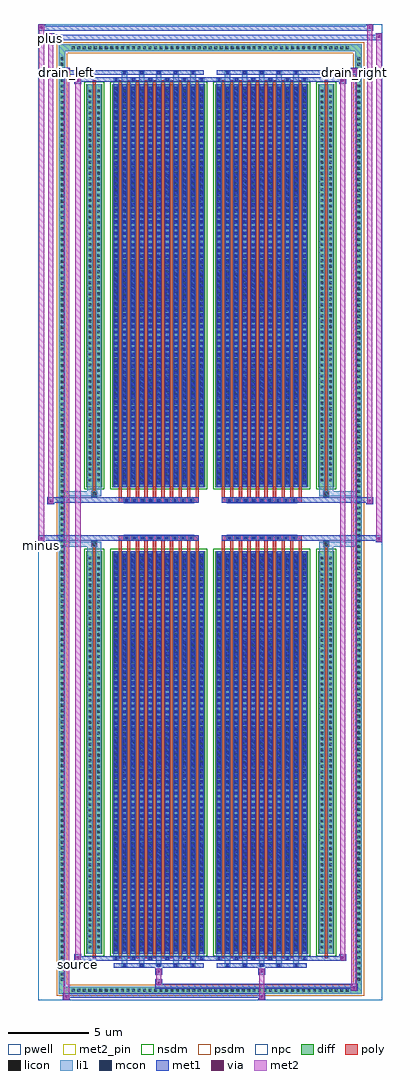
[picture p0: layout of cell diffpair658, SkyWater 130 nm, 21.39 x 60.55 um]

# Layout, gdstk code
import gdstk
lib = gdstk.Library(unit=1e-6, precision=5e-09)
def R(c, l, rs):  # rectangles x0, y0, x1, y1
    for r in rs: c.add(gdstk.rectangle(r[:2], r[2:], *l))
def A(c, l, x, y, w, h, nx, ny, dx, dy):  # array of equal rectangles
    R(c, l, [(x+i*dx, y+j*dy, x+i*dx+w, y+j*dy+h) for i in range(nx) for j in range(ny)])
def P(c, l, *ps):  # polygons
    for p in ps: c.add(gdstk.Polygon(p, *l))
pwell = (64, 44)
diff = (65, 20)
poly = (66, 20)
licon = (66, 44)
li1 = (67, 20)
mcon = (67, 44)
met1 = (68, 20)
via = (68, 44)
met2_pin = (69, 16)
met2 = (69, 20)
nsdm = (93, 44)
psdm = (94, 20)
npc = (95, 20)

diffpair658 = lib.new_cell('diffpair658')
R(diffpair658, pwell, [(-10.68,-29.84,10.68,30.71), (-8,-28.03,-0.01,-0.805), (0.01,-28.03,8,-0.805), (-8,0.805,-0.01,28.03), (0.01,0.805,8,28.03)])
A(diffpair658, diff, -8.705, -29.44, 0.41, 0.41, 51, 2, 0.34, 58.47)
A(diffpair658, diff, -9.41, -28.765, 0.41, 0.41, 1, 169, 0, 0.34)
A(diffpair658, diff, 9, -28.765, 0.41, 0.41, 1, 169, 0, 0.34)
R(diffpair658, diff, [(-8.705,-29.44,8.705,-29.03), (-9.41,-28.765,-9,28.765), (9,-28.765,9.41,28.765), (-7.69,-26.985,-6.71,-1.985), (-6.07,-26.985,-0.32,-1.985), (0.32,-26.985,6.07,-1.985), (6.71,-26.985,7.69,-1.985), (-7.69,1.985,-6.71,26.985), (-6.07,1.985,-0.32,26.985), (0.32,1.985,6.07,26.985), (6.71,1.985,7.69,26.985), (-8.705,29.03,8.705,29.44)])
P(diffpair658, diff, [(9.41,29.44),(-9.41,29.44),(-9.41,-29.03),(-9,-29.03),(-9,29.03),(9,29.03),(9,-29.03),(-9,-29.03),(-9.41,-29.03),(-9.41,-29.44),(9.41,-29.44)])
A(diffpair658, poly, -5.68, -27.235, 0.2, 25.5, 10, 2, 0.53, 28.97)
A(diffpair658, poly, 0.71, -27.235, 0.2, 25.5, 10, 2, 0.53, 28.97)
A(diffpair658, poly, -5.68, -1.735, 0.2, 0.4, 10, 2, 0.53, 3.07)
A(diffpair658, poly, 0.71, -1.735, 0.2, 0.4, 10, 2, 0.53, 3.07)
A(diffpair658, poly, -5.36, -1.335, 0.33, 0.33, 9, 2, 0.5, 2.34)
A(diffpair658, poly, 1.03, -1.335, 0.33, 0.33, 9, 2, 0.5, 2.34)
R(diffpair658, poly, [(-7.3,-27.235,-7.1,-1.735), (7.1,-27.235,7.3,-1.735), (-7.365,-1.735,-7.035,-1.405), (-7.365,-1.735,-7.035,-1.405), (7.035,-1.735,7.365,-1.405), (7.035,-1.735,7.365,-1.405), (-5.68,-1.335,-0.71,-1.005), (0.71,-1.335,5.68,-1.005), (-5.68,1.005,-0.71,1.335), (0.71,1.005,5.68,1.335), (-7.365,1.405,-7.035,1.735), (-7.365,1.405,-7.035,1.735), (7.035,1.405,7.365,1.735), (7.035,1.405,7.365,1.735), (-7.3,1.735,-7.1,27.235), (7.1,1.735,7.3,27.235)])
A(diffpair658, licon, -8.585, -29.32, 0.17, 0.17, 51, 2, 0.34, 58.47)
A(diffpair658, licon, -9.29, -28.645, 0.17, 0.17, 1, 169, 0, 0.34)
A(diffpair658, licon, 9.12, -28.645, 0.17, 0.17, 1, 169, 0, 0.34)
A(diffpair658, licon, -7.55, -26.64, 0.17, 0.17, 1, 72, 0, 0.34)
A(diffpair658, licon, -7.02, -26.64, 0.17, 0.17, 1, 72, 0, 0.34)
A(diffpair658, licon, -5.93, -26.64, 0.17, 0.17, 11, 72, 0.53, 0.34)
A(diffpair658, licon, 0.46, -26.64, 0.17, 0.17, 11, 72, 0.53, 0.34)
A(diffpair658, licon, 6.85, -26.64, 0.17, 0.17, 1, 72, 0, 0.34)
A(diffpair658, licon, 7.38, -26.64, 0.17, 0.17, 1, 72, 0, 0.34)
A(diffpair658, licon, -5.28, -1.255, 0.17, 0.17, 9, 2, 0.5, 2.34)
A(diffpair658, licon, 1.11, -1.255, 0.17, 0.17, 9, 2, 0.5, 2.34)
A(diffpair658, licon, -7.55, 2.33, 0.17, 0.17, 1, 72, 0, 0.34)
A(diffpair658, licon, -7.02, 2.33, 0.17, 0.17, 1, 72, 0, 0.34)
A(diffpair658, licon, -5.93, 2.33, 0.17, 0.17, 11, 72, 0.53, 0.34)
A(diffpair658, licon, 0.46, 2.33, 0.17, 0.17, 11, 72, 0.53, 0.34)
A(diffpair658, licon, 6.85, 2.33, 0.17, 0.17, 1, 72, 0, 0.34)
A(diffpair658, licon, 7.38, 2.33, 0.17, 0.17, 1, 72, 0, 0.34)
R(diffpair658, licon, [(-7.285,-1.655,-7.115,-1.485), (7.115,-1.655,7.285,-1.485), (-7.285,1.485,-7.115,1.655), (7.115,1.485,7.285,1.655)])
A(diffpair658, li1, -8.665, -29.4, 0.33, 0.33, 51, 2, 0.34, 58.47)
A(diffpair658, li1, -9.37, -28.725, 0.33, 0.33, 1, 169, 0, 0.34)
A(diffpair658, li1, 9.04, -28.725, 0.33, 0.33, 1, 169, 0, 0.34)
A(diffpair658, li1, -5.48, -27.79, 0.33, 0.805, 5, 2, 1.06, 54.775)
A(diffpair658, li1, -5.4, -27.79, 0.17, 0.17, 5, 2, 1.06, 55.41)
A(diffpair658, li1, 0.91, -27.79, 0.33, 0.805, 5, 2, 1.06, 54.775)
A(diffpair658, li1, 0.99, -27.79, 0.17, 0.17, 5, 2, 1.06, 55.41)
A(diffpair658, li1, -6.01, -27.36, 0.33, 0.375, 6, 2, 1.06, 54.345)
A(diffpair658, li1, -5.93, -27.36, 0.17, 0.17, 6, 2, 1.06, 54.55)
A(diffpair658, li1, 0.38, -27.36, 0.33, 0.375, 6, 2, 1.06, 54.345)
A(diffpair658, li1, 0.46, -27.36, 0.17, 0.17, 6, 2, 1.06, 54.55)
A(diffpair658, li1, -6.01, -26.985, 0.33, 25, 11, 2, 0.53, 28.97)
A(diffpair658, li1, 0.38, -26.985, 0.33, 25, 11, 2, 0.53, 28.97)
A(diffpair658, li1, -5.93, -26.81, 0.17, 0.17, 11, 69, 0.53, 0.36)
A(diffpair658, li1, -5.93, -26.81, 0.17, 24.65, 11, 2, 0.53, 28.97)
A(diffpair658, li1, 0.46, -26.81, 0.17, 0.17, 11, 69, 0.53, 0.36)
A(diffpair658, li1, 0.46, -26.81, 0.17, 24.65, 11, 2, 0.53, 28.97)
A(diffpair658, li1, -7.63, -26.72, 0.33, 0.33, 1, 72, 0, 0.34)
A(diffpair658, li1, -7.1, -26.72, 0.33, 0.33, 1, 72, 0, 0.34)
A(diffpair658, li1, -6.01, -26.72, 0.33, 0.33, 11, 72, 0.53, 0.34)
A(diffpair658, li1, 0.38, -26.72, 0.33, 0.33, 11, 72, 0.53, 0.34)
A(diffpair658, li1, 6.77, -26.72, 0.33, 0.33, 1, 72, 0, 0.34)
A(diffpair658, li1, 7.3, -26.72, 0.33, 0.33, 1, 72, 0, 0.34)
A(diffpair658, li1, -5.36, -1.335, 0.33, 0.33, 9, 2, 0.5, 2.34)
A(diffpair658, li1, 1.03, -1.335, 0.33, 0.33, 9, 2, 0.5, 2.34)
A(diffpair658, li1, -5.93, 2.16, 0.17, 0.17, 11, 69, 0.53, 0.36)
A(diffpair658, li1, 0.46, 2.16, 0.17, 0.17, 11, 69, 0.53, 0.36)
A(diffpair658, li1, -7.63, 2.25, 0.33, 0.33, 1, 72, 0, 0.34)
A(diffpair658, li1, -7.1, 2.25, 0.33, 0.33, 1, 72, 0, 0.34)
A(diffpair658, li1, -6.01, 2.25, 0.33, 0.33, 11, 72, 0.53, 0.34)
A(diffpair658, li1, 0.38, 2.25, 0.33, 0.33, 11, 72, 0.53, 0.34)
A(diffpair658, li1, 6.77, 2.25, 0.33, 0.33, 1, 72, 0, 0.34)
A(diffpair658, li1, 7.3, 2.25, 0.33, 0.33, 1, 72, 0, 0.34)
R(diffpair658, li1, [(-9.41,-29.44,-9,-29.03), (-9.41,-29.44,-9,-29.03), (-9,-29.44,9,-29.03), (9,-29.44,9.41,-29.03), (9,-29.44,9.41,-29.03), (-9.41,-29.03,-9,29.03), (9,-29.03,9.41,29.03), (-7.63,-26.985,-7.3,-1.985), (-7.1,-26.985,-6.77,-1.985), (6.77,-26.985,7.1,-1.985), (7.3,-26.985,7.63,-1.985), (-7.63,-1.985,-7.3,-1.405), (-7.1,-1.985,-6.77,-1.405), (6.77,-1.985,7.1,-1.405), (7.3,-1.985,7.63,-1.405), (-9.41,-1.735,-7.365,-1.405), (-7.63,-1.735,-7.365,-1.405), (-7.365,-1.735,-7.035,-1.405), (-7.035,-1.735,-6.77,-1.405), (6.77,-1.735,7.035,-1.405), (7.035,-1.735,7.365,-1.405), (7.035,-1.735,9.41,-1.405), (7.365,-1.735,7.63,-1.405), (-9.41,1.405,-7.365,1.735), (-7.63,1.405,-7.365,1.735), (-7.63,1.405,-7.3,1.985), (-7.365,1.405,-7.035,1.735), (-7.1,1.405,-6.77,1.985), (-7.035,1.405,-6.77,1.735), (6.77,1.405,7.035,1.735), (6.77,1.405,7.1,1.985), (7.035,1.405,7.365,1.735), (7.035,1.405,9.41,1.735), (7.3,1.405,7.63,1.985), (7.365,1.405,7.63,1.735), (-7.63,1.985,-7.3,26.985), (-7.1,1.985,-6.77,26.985), (6.77,1.985,7.1,26.985), (7.3,1.985,7.63,26.985), (-9.41,29.03,-9,29.44), (-9.41,29.03,-9,29.44), (-9,29.03,9,29.44), (9,29.03,9.41,29.44), (9,29.03,9.41,29.44)])
A(diffpair658, mcon, -5.4, -27.79, 0.17, 0.17, 5, 2, 1.06, 55.41)
A(diffpair658, mcon, 0.99, -27.79, 0.17, 0.17, 5, 2, 1.06, 55.41)
A(diffpair658, mcon, -5.93, -27.36, 0.17, 0.17, 6, 2, 1.06, 54.55)
A(diffpair658, mcon, 0.46, -27.36, 0.17, 0.17, 6, 2, 1.06, 54.55)
A(diffpair658, mcon, -5.93, -26.81, 0.17, 0.17, 11, 69, 0.53, 0.36)
A(diffpair658, mcon, 0.46, -26.81, 0.17, 0.17, 11, 69, 0.53, 0.36)
A(diffpair658, mcon, -5.28, -1.255, 0.17, 0.17, 9, 2, 0.5, 2.34)
A(diffpair658, mcon, 1.11, -1.255, 0.17, 0.17, 9, 2, 0.5, 2.34)
A(diffpair658, mcon, -5.93, 2.16, 0.17, 0.17, 11, 69, 0.53, 0.36)
A(diffpair658, mcon, 0.46, 2.16, 0.17, 0.17, 11, 69, 0.53, 0.36)
A(diffpair658, met1, -5.46, -27.85, 0.29, 0.29, 5, 2, 1.06, 55.41)
A(diffpair658, met1, 0.93, -27.85, 0.29, 0.29, 5, 2, 1.06, 55.41)
A(diffpair658, met1, -5.99, -27.42, 0.29, 0.29, 6, 2, 1.06, 54.55)
A(diffpair658, met1, 0.4, -27.42, 0.29, 0.29, 6, 2, 1.06, 54.55)
A(diffpair658, met1, -5.99, -26.985, 0.29, 25, 11, 2, 0.53, 28.97)
A(diffpair658, met1, 0.4, -26.985, 0.29, 25, 11, 2, 0.53, 28.97)
A(diffpair658, met1, -5.99, -26.87, 0.29, 0.29, 11, 69, 0.53, 0.36)
A(diffpair658, met1, 0.4, -26.87, 0.29, 0.29, 11, 69, 0.53, 0.36)
A(diffpair658, met1, -5.34, -1.315, 0.29, 0.29, 9, 2, 0.5, 2.34)
A(diffpair658, met1, 1.05, -1.315, 0.29, 0.29, 9, 2, 0.5, 2.34)
A(diffpair658, met1, -5.99, 2.1, 0.29, 0.29, 11, 69, 0.53, 0.36)
A(diffpair658, met1, 0.4, 2.1, 0.29, 0.29, 11, 69, 0.53, 0.36)
R(diffpair658, met1, [(-9.14,-29.84,-8.71,-29.41), (2.98,-29.84,3.41,-29.41), (-9.14,-29.7,3.41,-29.41), (8.71,-29.27,9.14,-28.84), (-3.41,-29.13,9.14,-28.84), (-3.41,-28.99,-2.98,-28.56), (-3.41,-28.28,-2.98,-27.85), (2.98,-28.28,3.41,-27.85), (-5.99,-27.85,-0.4,-27.56), (0.4,-27.85,5.99,-27.56), (-8.43,-27.42,-8,-26.99), (-8.43,-27.42,-5.99,-27.13), (-5.99,-27.42,-0.4,-27.13), (-0.4,-27.42,0.4,-27.13), (0.4,-27.42,5.99,-27.13), (5.99,-27.42,8.43,-27.13), (8,-27.42,8.43,-26.99), (-10.68,-1.435,-10.25,-1.005), (10.25,-1.435,10.68,-1.005), (-10.68,-1.335,-0.71,-1.005), (-5.68,-1.335,-0.71,-1.005), (0.71,-1.335,5.68,-1.005), (0.71,-1.335,10.68,-1.005), (-10.11,0.905,-9.68,1.335), (9.68,0.905,10.11,1.335), (-10.11,1.005,-5.68,1.335), (-5.68,1.005,-0.71,1.335), (0.71,1.005,5.68,1.335), (5.68,1.005,10.11,1.335), (-8.43,26.99,-8,27.42), (8,26.99,8.43,27.42), (-8.43,27.13,-5.99,27.42), (-5.99,27.13,-0.4,27.42), (-0.4,27.13,0.4,27.42), (0.4,27.13,5.99,27.42), (5.99,27.13,8.43,27.42), (-9.14,27.56,-8.71,27.99), (-9.14,27.56,-5.99,27.85), (-5.99,27.56,-0.4,27.85), (0.4,27.56,5.99,27.85), (5.99,27.56,9.14,27.85), (8.71,27.56,9.14,27.99), (-10.11,29.71,-9.68,30.14), (-10.11,29.71,-8,30.04), (-8,29.71,8,30.04), (8,29.71,10.68,30.04), (10.25,29.71,10.68,30.14), (-10.68,30.28,-10.25,30.71), (-10.68,30.28,-8,30.61), (-8,30.28,8,30.61), (8,30.28,10.11,30.61), (9.68,30.28,10.11,30.71)])
R(diffpair658, via, [(-9,-29.7,-8.85,-29.55), (3.12,-29.7,3.27,-29.55), (8.85,-29.13,9,-28.98), (-3.27,-28.85,-3.12,-28.7), (-3.27,-28.14,-3.12,-27.99), (3.12,-28.14,3.27,-27.99), (-8.29,-27.28,-8.14,-27.13), (8.14,-27.28,8.29,-27.13), (-10.54,-1.295,-10.39,-1.145), (10.39,-1.295,10.54,-1.145), (-9.97,1.045,-9.82,1.195), (9.82,1.045,9.97,1.195), (-8.29,27.13,-8.14,27.28), (8.14,27.13,8.29,27.28), (-9,27.7,-8.85,27.85), (8.85,27.7,9,27.85), (-9.97,29.85,-9.82,30), (10.39,29.85,10.54,30), (-10.54,30.42,-10.39,30.57), (9.82,30.42,9.97,30.57)])
R(diffpair658, met2_pin, [(-8.465,-27.87,-7.965,-27.37), (-10.715,-1.885,-10.215,-1.385), (-9.175,27.44,-8.675,27.94), (8.675,27.44,9.175,27.94), (-10.145,29.59,-9.645,30.09)])
R(diffpair658, met2, [(-9.09,-29.79,-8.76,-29.46), (-9.09,-29.79,-8.76,27.94), (3.03,-29.79,3.36,-29.46), (3.03,-29.46,3.36,-28.23), (8.76,-29.22,9.09,-28.89), (8.76,-29.22,9.09,27.94), (-3.36,-28.94,-3.03,-28.61), (-3.36,-28.61,-3.03,-28.23), (-3.36,-28.23,-3.03,-27.9), (3.03,-28.23,3.36,-27.9), (-8.38,-27.37,-8.05,-27.04), (-8.38,-27.37,-8.05,27.37), (8.05,-27.37,8.38,-27.04), (8.05,-27.37,8.38,27.37), (-10.63,-1.385,-10.3,-1.055), (-10.63,-1.385,-10.3,30.66), (10.3,-1.385,10.63,-1.055), (10.3,-1.385,10.63,30.09), (-10.06,0.955,-9.73,1.285), (-10.06,0.955,-9.73,30.09), (9.73,0.955,10.06,1.285), (9.73,0.955,10.06,30.66), (-8.38,27.04,-8.05,27.37), (8.05,27.04,8.38,27.37), (-9.09,27.61,-8.76,27.94), (8.76,27.61,9.09,27.94), (-10.06,29.76,-9.73,30.09), (10.3,29.76,10.63,30.09), (-10.63,30.33,-10.3,30.66), (9.73,30.33,10.06,30.66)])
P(diffpair658, met2, [(10.63,-1.385),(10.63,-1.385),(10.63,-1.055),(10.63,-1.055)],
  [(10.63,29.76),(10.63,29.76),(10.63,30.09),(10.63,30.09)],
  [(-10.3,-1.385),(-10.3,-1.385),(-10.3,-1.055),(-10.3,-1.055)],
  [(-10.3,30.33),(-10.3,30.33),(-10.3,30.66),(-10.3,30.66)],
  [(10.06,0.955),(10.06,0.955),(10.06,1.285),(10.06,1.285)],
  [(10.06,30.33),(10.06,30.33),(10.06,30.66),(10.06,30.66)],
  [(-9.73,0.955),(-9.73,0.955),(-9.73,1.285),(-9.73,1.285)],
  [(-9.73,29.76),(-9.73,29.76),(-9.73,30.09),(-9.73,30.09)],
  [(-8.76,-29.79),(-8.76,-29.79),(-8.76,-29.46),(-8.76,-29.46)],
  [(-8.76,27.61),(-8.76,27.61),(-8.76,27.94),(-8.76,27.94)],
  [(9.09,-29.22),(9.09,-29.22),(9.09,-28.89),(9.09,-28.89)],
  [(9.09,27.61),(9.09,27.61),(9.09,27.94),(9.09,27.94)],
  [(-8.05,-27.37),(-8.05,-27.37),(-8.05,-27.04),(-8.05,-27.04)],
  [(-8.05,27.04),(-8.05,27.04),(-8.05,27.37),(-8.05,27.37)],
  [(8.38,-27.37),(8.38,-27.37),(8.38,-27.04),(8.38,-27.04)],
  [(8.38,27.04),(8.38,27.04),(8.38,27.37),(8.38,27.37)])
R(diffpair658, nsdm, [(-7.82,-27.115,-6.58,-1.855), (-6.2,-27.115,-0.19,-1.855), (0.19,-27.115,6.2,-1.855), (6.58,-27.115,7.82,-1.855), (-7.82,1.855,-6.58,27.115), (-6.2,1.855,-0.19,27.115), (0.19,1.855,6.2,27.115), (6.58,1.855,7.82,27.115)])
P(diffpair658, psdm, [(9.54,29.57),(-9.54,29.57),(-9.54,-28.9),(-8.87,-28.9),(-8.87,28.9),(8.87,28.9),(8.87,-28.9),(-8.87,-28.9),(-9.54,-28.9),(-9.54,-29.57),(9.54,-29.57)])
A(diffpair658, npc, -5.38, -1.355, 0.37, 0.37, 9, 2, 0.5, 2.34)
A(diffpair658, npc, 1.01, -1.355, 0.37, 0.37, 9, 2, 0.5, 2.34)
R(diffpair658, npc, [(-7.385,-1.755,-7.015,-1.385), (7.015,-1.755,7.385,-1.385), (-5.38,-1.355,-4.51,-0.985), (-5.38,-1.355,-4.51,-0.985), (-4.88,-1.355,-4.01,-0.985), (-4.88,-1.355,-4.01,-0.985), (-4.38,-1.355,-3.51,-0.985), (-4.38,-1.355,-3.51,-0.985), (-3.88,-1.355,-3.01,-0.985), (-3.88,-1.355,-3.01,-0.985), (-3.38,-1.355,-2.51,-0.985), (-3.38,-1.355,-2.51,-0.985), (-2.88,-1.355,-2.01,-0.985), (-2.88,-1.355,-2.01,-0.985), (-2.38,-1.355,-1.51,-0.985), (-2.38,-1.355,-1.51,-0.985), (-1.88,-1.355,-1.01,-0.985), (-1.88,-1.355,-1.01,-0.985), (1.01,-1.355,1.88,-0.985), (1.01,-1.355,1.88,-0.985), (1.51,-1.355,2.38,-0.985), (1.51,-1.355,2.38,-0.985), (2.01,-1.355,2.88,-0.985), (2.01,-1.355,2.88,-0.985), (2.51,-1.355,3.38,-0.985), (2.51,-1.355,3.38,-0.985), (3.01,-1.355,3.88,-0.985), (3.01,-1.355,3.88,-0.985), (3.51,-1.355,4.38,-0.985), (3.51,-1.355,4.38,-0.985), (4.01,-1.355,4.88,-0.985), (4.01,-1.355,4.88,-0.985), (4.51,-1.355,5.38,-0.985), (4.51,-1.355,5.38,-0.985), (-5.38,0.985,-4.51,1.355), (-5.38,0.985,-4.51,1.355), (-4.88,0.985,-4.01,1.355), (-4.88,0.985,-4.01,1.355), (-4.38,0.985,-3.51,1.355), (-4.38,0.985,-3.51,1.355), (-3.88,0.985,-3.01,1.355), (-3.88,0.985,-3.01,1.355), (-3.38,0.985,-2.51,1.355), (-3.38,0.985,-2.51,1.355), (-2.88,0.985,-2.01,1.355), (-2.88,0.985,-2.01,1.355), (-2.38,0.985,-1.51,1.355), (-2.38,0.985,-1.51,1.355), (-1.88,0.985,-1.01,1.355), (-1.88,0.985,-1.01,1.355), (1.01,0.985,1.88,1.355), (1.01,0.985,1.88,1.355), (1.51,0.985,2.38,1.355), (1.51,0.985,2.38,1.355), (2.01,0.985,2.88,1.355), (2.01,0.985,2.88,1.355), (2.51,0.985,3.38,1.355), (2.51,0.985,3.38,1.355), (3.01,0.985,3.88,1.355), (3.01,0.985,3.88,1.355), (3.51,0.985,4.38,1.355), (3.51,0.985,4.38,1.355), (4.01,0.985,4.88,1.355), (4.01,0.985,4.88,1.355), (4.51,0.985,5.38,1.355), (4.51,0.985,5.38,1.355), (-7.385,1.385,-7.015,1.755), (7.015,1.385,7.385,1.755)])
diffpair658.add(gdstk.Label('minus', (-10.465,-1.635), layer=69, texttype=5))
diffpair658.add(gdstk.Label('drain_right', (8.925,27.69), layer=69, texttype=5))
diffpair658.add(gdstk.Label('drain_left', (-8.925,27.69), layer=69, texttype=5))
diffpair658.add(gdstk.Label('source', (-8.215,-27.62), layer=69, texttype=5))
diffpair658.add(gdstk.Label('plus', (-9.895,29.84), layer=69, texttype=5))

lib.write_gds('diffpair658.gds')
